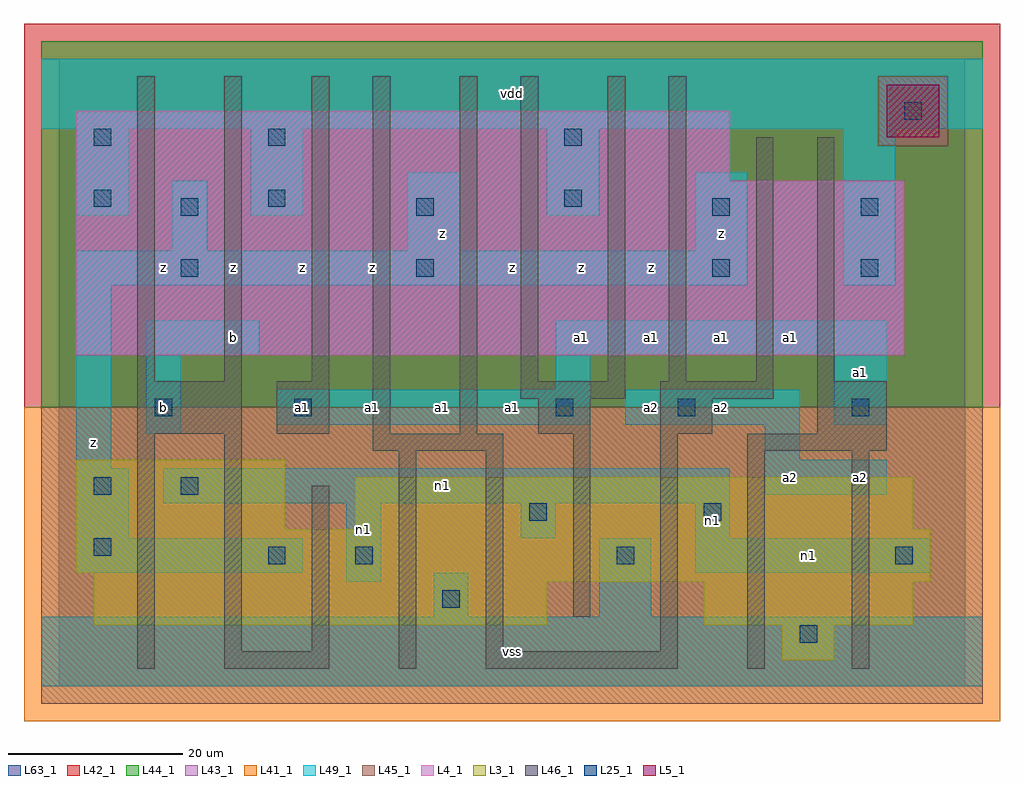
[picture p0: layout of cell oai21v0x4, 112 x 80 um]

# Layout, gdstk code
import gdstk
lib = gdstk.Library(unit=1e-6, precision=1e-09)
def R(c, l, rs):  # rectangles x0, y0, x1, y1
    for r in rs: c.add(gdstk.rectangle(r[:2], r[2:], *l))
def A(c, l, x, y, w, h, nx, ny, dx, dy):  # array of equal rectangles
    R(c, l, [(x+i*dx, y+j*dy, x+i*dx+w, y+j*dy+h) for i in range(nx) for j in range(ny)])
L3_1 = (3, 1)
L4_1 = (4, 1)
L5_1 = (5, 1)
L25_1 = (25, 1)
L41_1 = (41, 1)
L42_1 = (42, 1)
L43_1 = (43, 1)
L44_1 = (44, 1)
L45_1 = (45, 1)
L46_1 = (46, 1)
L49_1 = (49, 1)
L63_1 = (63, 1)

oai21v0x4 = lib.new_cell('oai21v0x4')
R(oai21v0x4, L3_1, [(83,3,89,7), (4,7,56,12), (74,7,98,12), (4,12,100,13), (2,13,100,18), (2,18,26,26), (34,18,98,24)])
R(oai21v0x4, L4_1, [(2,38,97,58), (2,58,77,66)])
R(oai21v0x4, L5_1, [(95,63,101,69)])
R(oai21v0x4, L25_1, [(85,5,87,7), (44,9,46,11), (24,14,26,16), (34,14,36,16), (64,14,66,16), (96,14,98,16), (4,15,6,17), (54,19,56,21), (74,19,76,21), (4,22,6,24), (14,22,16,24), (11,31,13,33), (27,31,29,33), (57,31,59,33), (71,31,73,33), (91,31,93,33), (14,47,16,49), (41,47,43,49), (75,47,77,49), (92,47,94,49), (14,54,16,56), (41,54,43,56), (75,54,77,56), (92,54,94,56), (4,55,6,57), (24,55,26,57), (58,55,60,57), (4,62,6,64), (24,62,26,64), (58,62,60,64), (97,65,99,67)])
R(oai21v0x4, L41_1, [(-4,-4,108,32)])
R(oai21v0x4, L42_1, [(-4,32,108,76)])
R(oai21v0x4, L43_1, [(83,3,89,7), (4,7,56,12), (74,7,98,12), (4,12,100,13), (2,13,100,18), (2,18,26,26), (34,18,98,24), (2,38,97,58), (2,58,77,66), (95,63,101,69)])
R(oai21v0x4, L44_1, [(-2,32,106,62), (-2,62,94,70), (102,62,106,70), (-2,70,106,74)])
R(oai21v0x4, L45_1, [(-2,-2,106,32), (94,62,102,70)])
A(oai21v0x4, L46_1, 9, 35, 2, 35, 3, 1, 10, 0)
R(oai21v0x4, L46_1, [(9,2,11,29), (19,2,31,4), (39,2,41,27), (49,2,71,4), (79,2,81,27), (91,2,93,27), (19,4,21,29), (29,4,31,23), (49,4,51,27), (69,4,71,29), (59,8,61,29), (36,27,51,29), (79,27,95,29), (9,29,21,35), (25,29,31,35), (36,29,38,70), (46,29,48,70), (55,29,61,33), (69,29,75,33), (87,29,95,35), (53,33,65,35), (69,33,82,35), (53,35,55,70), (63,35,65,70), (70,35,72,70), (80,35,82,63), (87,35,89,63)])
R(oai21v0x4, L49_1, [(-2,0,106,8), (43,8,47,13), (62,8,68,17), (33,12,37,21), (2,13,28,17), (73,13,100,17), (2,17,8,25), (53,17,57,21), (73,17,77,21), (12,21,77,25), (81,22,95,26), (2,25,6,46), (81,26,85,30), (10,29,14,38), (25,30,61,34), (65,30,85,34), (89,30,95,38), (57,34,61,38), (10,38,23,42), (57,38,95,42), (2,46,79,50), (90,46,96,64), (13,50,17,58), (40,50,46,59), (73,50,79,59), (2,54,8,64), (22,54,28,64), (56,54,62,64), (-2,64,106,72)])
R(oai21v0x4, L63_1, [(0,0,104,72)])
oai21v0x4.add(gdstk.Label('b', (12,32), layer=49, texttype=1))
oai21v0x4.add(gdstk.Label('z', (4,28), layer=49, texttype=1))
oai21v0x4.add(gdstk.Label('z', (12,48), layer=49, texttype=1))
oai21v0x4.add(gdstk.Label('n1', (35,18), layer=49, texttype=1))
oai21v0x4.add(gdstk.Label('a1', (28,32), layer=49, texttype=1))
oai21v0x4.add(gdstk.Label('a1', (36,32), layer=49, texttype=1))
oai21v0x4.add(gdstk.Label('b', (20,40), layer=49, texttype=1))
oai21v0x4.add(gdstk.Label('z', (20,48), layer=49, texttype=1))
oai21v0x4.add(gdstk.Label('z', (28,48), layer=49, texttype=1))
oai21v0x4.add(gdstk.Label('z', (36,48), layer=49, texttype=1))
oai21v0x4.add(gdstk.Label('vss', (52,4), layer=49, texttype=1))
oai21v0x4.add(gdstk.Label('a1', (52,32), layer=49, texttype=1))
oai21v0x4.add(gdstk.Label('a1', (44,32), layer=49, texttype=1))
oai21v0x4.add(gdstk.Label('a1', (60,40), layer=49, texttype=1))
oai21v0x4.add(gdstk.Label('z', (44,52), layer=49, texttype=1))
oai21v0x4.add(gdstk.Label('z', (52,48), layer=49, texttype=1))
oai21v0x4.add(gdstk.Label('z', (60,48), layer=49, texttype=1))
oai21v0x4.add(gdstk.Label('vdd', (52,68), layer=49, texttype=1))
oai21v0x4.add(gdstk.Label('n1', (75,19), layer=49, texttype=1))
oai21v0x4.add(gdstk.Label('n1', (44,23), layer=49, texttype=1))
oai21v0x4.add(gdstk.Label('a2', (68,32), layer=49, texttype=1))
oai21v0x4.add(gdstk.Label('a2', (76,32), layer=49, texttype=1))
oai21v0x4.add(gdstk.Label('a1', (68,40), layer=49, texttype=1))
oai21v0x4.add(gdstk.Label('a1', (76,40), layer=49, texttype=1))
oai21v0x4.add(gdstk.Label('z', (76,52), layer=49, texttype=1))
oai21v0x4.add(gdstk.Label('z', (68,48), layer=49, texttype=1))
oai21v0x4.add(gdstk.Label('n1', (86,15), layer=49, texttype=1))
oai21v0x4.add(gdstk.Label('a2', (84,24), layer=49, texttype=1))
oai21v0x4.add(gdstk.Label('a2', (92,24), layer=49, texttype=1))
oai21v0x4.add(gdstk.Label('a1', (84,40), layer=49, texttype=1))
oai21v0x4.add(gdstk.Label('a1', (92,36), layer=49, texttype=1))

lib.write_gds('oai21v0x4.gds')
